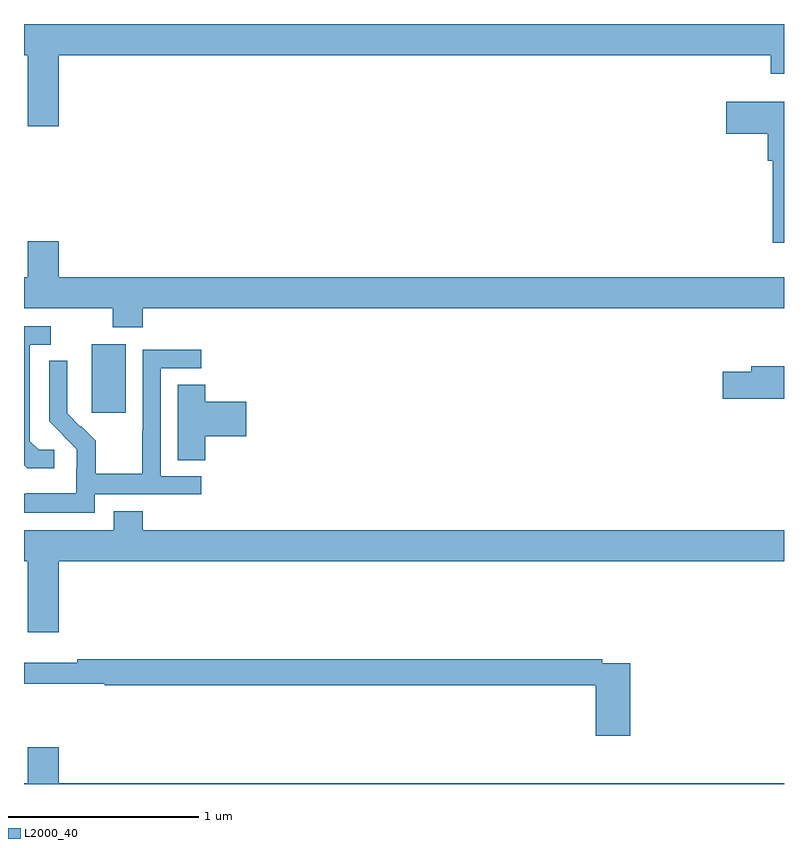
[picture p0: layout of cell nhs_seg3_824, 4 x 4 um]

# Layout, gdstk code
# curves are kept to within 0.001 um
import gdstk
lib = gdstk.Library(unit=1e-6, precision=1e-09)
def R(c, l, rs):  # rectangles x0, y0, x1, y1
    for r in rs: c.add(gdstk.rectangle(r[:2], r[2:], *l))
def P(c, l, *ps):  # polygons
    for p in ps: c.add(gdstk.Polygon(p, *l))
L2000_40 = (2000, 40)

nhs_seg3_824 = lib.new_cell('nhs_seg3_824')
R(nhs_seg3_824, L2000_40, [(153.356,712.353,153.535,712.714)])
P(nhs_seg3_824, L2000_40, [(153.184,714.236),(156.929,714.236),(156.929,714.137),(157,714.137),(157,714.4),(153,714.4),(153,714.236),(153.02,714.236),(153.02,713.862),(153.184,713.862)],
  [(157,713.992),(156.696,713.992),(156.696,713.822),(156.914,713.822),(156.914,713.681),(156.94,713.681),(156.94,713.25),(157,713.25)],
  [(153.626,712.904),(157,712.904),(157,713.068),(153.184,713.068),(153.184,713.257),(153.02,713.257),(153.02,713.068),(153,713.068),(153,712.904),(153.466,712.904),(153.466,712.805),(153.626,712.805)],
  [(153.16,712.158),(153.078,712.158),(153.031,712.205),(153.031,712.713),(153.142,712.713),(153.142,712.809),(153,712.809),(153,712.077),(153.016,712.061),(153.16,712.061)],
  [(153.372,711.924),(153.934,711.924),(153.934,712.02),(153.72,712.02),(153.72,712.587),(153.934,712.587),(153.934,712.686),(153.624,712.686),(153.624,712.256),(153.622,712.256),(153.622,712.033),(153.377,712.033),(153.377,712.207),(153.3,712.284),(153.297,712.281),(153.227,712.352),(153.228,712.628),(153.132,712.628),(153.132,712.31),(153.278,712.162),(153.278,712.065),(153.276,712.065),(153.276,711.931),(153.013,711.931),(153.013,711.927),(153,711.927),(153,711.827),(153.372,711.827)],
  [(157,712.599),(156.827,712.599),(156.827,712.569),(156.678,712.569),(156.678,712.427),(157,712.427)],
  [(153.953,712.229),(154.171,712.229),(154.171,712.412),(153.953,712.412),(153.953,712.502),(153.809,712.502),(153.809,712.105),(153.953,712.105)],
  [(153.184,711.572),(157,711.572),(157,711.736),(153.626,711.736),(153.626,711.835),(153.473,711.835),(153.473,711.736),(153,711.736),(153,711.572),(153.02,711.572),(153.02,711.198),(153.184,711.198)],
  [(156.191,711.036),(156.044,711.036),(156.044,711.056),(153.28,711.056),(153.28,711.037),(153,711.037),(153,710.928),(153.424,710.928),(153.424,710.92),(156.008,710.92),(156.008,710.655),(156.191,710.655)],
  [(157,710.404),(153.184,710.404),(153.184,710.593),(153.02,710.593),(153.02,710.404),(153,710.404),(153,710.4),(157,710.4)])

lib.write_gds('nhs_seg3_824.gds')
